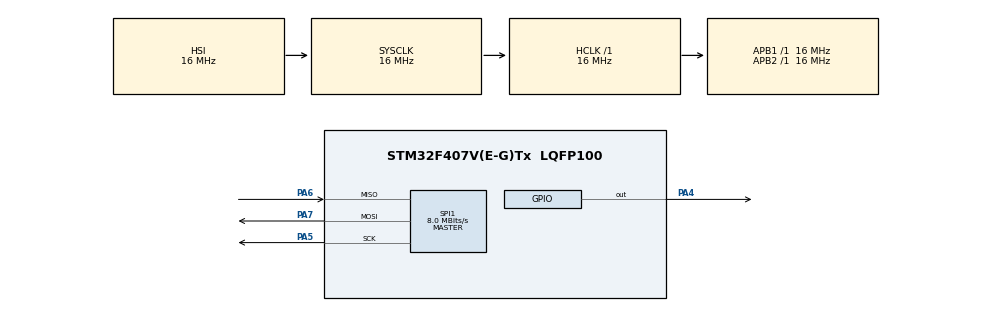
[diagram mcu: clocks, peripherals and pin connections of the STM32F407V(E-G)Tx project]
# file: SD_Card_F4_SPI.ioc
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FATFS._MAX_SS=4096
FATFS._USE_LFN=1
Mcu.Family=STM32F4
Mcu.Name=STM32F407V(E-G)Tx
Mcu.Package=LQFP100
NVIC.PriorityGroup=NVIC_PRIORITYGROUP_4
PA13.Mode=Serial_Wire
PA13.Signal=SYS_JTMS-SWDIO
PA14.Mode=Serial_Wire
PA14.Signal=SYS_JTCK-SWCLK
PA4.Signal=GPIO_Output
PA5.Mode=Full_Duplex_Master
PA5.Signal=SPI1_SCK
PA6.Mode=Full_Duplex_Master
PA6.Signal=SPI1_MISO
PA7.Mode=Full_Duplex_Master
PA7.Signal=SPI1_MOSI
ProjectManager.HeapSize=0x200
ProjectManager.StackSize=0x400
ProjectManager.TargetToolchain=STM32CubeIDE
RCC.AHBFreq_Value=16000000
RCC.APB1Freq_Value=16000000
RCC.APB2Freq_Value=16000000
RCC.CortexFreq_Value=16000000
RCC.HSE_VALUE=25000000
RCC.HSI_VALUE=16000000
RCC.LSE_VALUE=32768
RCC.SYSCLKFreq_VALUE=16000000
RCC.VCOOutputFreq_Value=192000000
SPI1.CalculateBaudRate=8.0 MBits/s
SPI1.Direction=SPI_DIRECTION_2LINES
SPI1.Mode=SPI_MODE_MASTER
SPI1.VirtualType=VM_MASTER
VP_FATFS_VS_Generic.Mode=User_defined
board=custom

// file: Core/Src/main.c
/* USER CODE BEGIN Header */
/**
  ******************************************************************************
  * @file           : main.c
  * @brief          : Main program body
  ******************************************************************************
  * @attention
  *
  * Copyright (c) 2023 STMicroelectronics.
  * All rights reserved.
  *
  * This software is licensed under terms that can be found in the LICENSE file
  * in the root directory of this software component.
  * If no LICENSE file comes with this software, it is provided AS-IS.
  *
  ******************************************************************************
  */
/* USER CODE END Header */
#include "main.h"
#include "fatfs.h"

/* USER CODE BEGIN Includes */
#include <string.h>
/* USER CODE END Includes */

/* USER CODE BEGIN PTD */
#include "sd.h"
/* USER CODE END PTD */

/* USER CODE BEGIN PD */
FATFS fs;
FIL fil;
int c=0;
FRESULT res; // FatFs function result variable

//char buffer[100];
/* USER CODE END PD */

SPI_HandleTypeDef hspi1;

void SystemClock_Config(void);
static void MX_GPIO_Init(void);
static void MX_SPI1_Init(void);

int main(void)
{

  /* MCU Configuration--------------------------------------------------------*/

  /* Reset of all peripherals, Initializes the Flash interface and the Systick. */
  HAL_Init();

  /* Configure the system clock */
  SystemClock_Config();

  /* Initialize all configured peripherals */
  MX_GPIO_Init();
  MX_SPI1_Init();
  MX_FATFS_Init();
  /* USER CODE BEGIN 2 */
  HAL_Delay(500);
//   f_mount(&fs, "", 0);
//   f_open(&fil, "write.txt", FA_CREATE_NEW|FA_OPEN_ALWAYS|FA_WRITE );   //FA_OPEN_ALWAYS | | FA_READ
//   f_lseek(&fil, fil.fptr);
//   f_puts("Hello from Parikshit\n", &fil);
//   f_close(&fil);

//   SD_Card_Init()

   // Mount the file system
   res = f_mount(&fs, "", 0);
   if (res != FR_OK) {
       // Handle mount error
       c=1;
       Error_Handler();
   }

   HAL_Delay(5000);
   // Open or create the file
   res = f_open(&fil, "write.txt", FA_CREATE_NEW | FA_OPEN_ALWAYS | FA_READ| FA_WRITE);
   if (res != FR_OK) {
       // Handle file open error
       f_mount(NULL, "", 0); // Unmount the file system
       c=2;
       Error_Handler();
   }

   // Write data to the file
   res = f_puts("Hello from Parikshit\n", &fil);
   if (res < 0) {
       // Handle write error
//       printf("Failed to write to file. Error code: %d\n", res);
       f_close(&fil); // Close the file
       f_mount(NULL, "", 0); // Unmount the file system

       c=3;
       Error_Handler();
   }

   // Close the file
   res = f_close(&fil);
   if (res != FR_OK) {
       // Handle file close error
//       printf("Failed to close file. Error code: %d\n", res);
       f_mount(NULL, "", 0); // Unmount the file system
       c=4;
             Error_Handler();

   }

   // Unmount the file system
   res = f_mount(NULL, "", 0);
   if (res != FR_OK) {
       // Handle unmount error
//       printf("Failed to unmount filesystem. Error code: %d\n", res);
//       return; // Or perform error recovery
	   c=4;
	   Error_Handler();
   }

//  f_open(&fil, "write.txt", FA_READ);
//    // Reads line by line until the end
//    while(f_gets(buffer, sizeof(buffer), &fil))
//    {
//      // Can use the buffer for something useful
//      memset(buffer,0,sizeof(buffer));
//    }
//    f_close(&fil);
  /* USER CODE END 2 */

  /* Infinite loop */
  while (1)
  {

  }
}

void SystemClock_Config(void)
{
  RCC_OscInitTypeDef RCC_OscInitStruct = {0};
  RCC_ClkInitTypeDef RCC_ClkInitStruct = {0};

  /** Configure the main internal regulator output voltage
  */
  __HAL_RCC_PWR_CLK_ENABLE();
  __HAL_PWR_VOLTAGESCALING_CONFIG(PWR_REGULATOR_VOLTAGE_SCALE1);

  /** Initializes the RCC Oscillators according to the specified parameters
  * in the RCC_OscInitTypeDef structure.
  */
  RCC_OscInitStruct.OscillatorType = RCC_OSCILLATORTYPE_HSI;
  RCC_OscInitStruct.HSIState = RCC_HSI_ON;
  RCC_OscInitStruct.HSICalibrationValue = RCC_HSICALIBRATION_DEFAULT;
  RCC_OscInitStruct.PLL.PLLState = RCC_PLL_NONE;
  if (HAL_RCC_OscConfig(&RCC_OscInitStruct) != HAL_OK)
  {
    Error_Handler();
  }

  /** Initializes the CPU, AHB and APB buses clocks
  */
  RCC_ClkInitStruct.ClockType = RCC_CLOCKTYPE_HCLK|RCC_CLOCKTYPE_SYSCLK
                              |RCC_CLOCKTYPE_PCLK1|RCC_CLOCKTYPE_PCLK2;
  RCC_ClkInitStruct.SYSCLKSource = RCC_SYSCLKSOURCE_HSI;
  RCC_ClkInitStruct.AHBCLKDivider = RCC_SYSCLK_DIV1;
  RCC_ClkInitStruct.APB1CLKDivider = RCC_HCLK_DIV1;
  RCC_ClkInitStruct.APB2CLKDivider = RCC_HCLK_DIV1;

  if (HAL_RCC_ClockConfig(&RCC_ClkInitStruct, FLASH_LATENCY_0) != HAL_OK)
  {
    Error_Handler();
  }
}

static void MX_SPI1_Init(void)
{

  /* SPI1 parameter configuration*/
  hspi1.Instance = SPI1;
  hspi1.Init.Mode = SPI_MODE_MASTER;
  hspi1.Init.Direction = SPI_DIRECTION_2LINES;
  hspi1.Init.DataSize = SPI_DATASIZE_8BIT;
  hspi1.Init.CLKPolarity = SPI_POLARITY_LOW;
  hspi1.Init.CLKPhase = SPI_PHASE_1EDGE;
  hspi1.Init.NSS = SPI_NSS_SOFT;
  hspi1.Init.BaudRatePrescaler = SPI_BAUDRATEPRESCALER_2;
  hspi1.Init.FirstBit = SPI_FIRSTBIT_MSB;
  hspi1.Init.TIMode = SPI_TIMODE_DISABLE;
  hspi1.Init.CRCCalculation = SPI_CRCCALCULATION_DISABLE;
  hspi1.Init.CRCPolynomial = 10;
  if (HAL_SPI_Init(&hspi1) != HAL_OK)
  {
    Error_Handler();
  }

}

static void MX_GPIO_Init(void)
{
  GPIO_InitTypeDef GPIO_InitStruct = {0};

  /* GPIO Ports Clock Enable */
  __HAL_RCC_GPIOA_CLK_ENABLE();

  /*Configure GPIO pin Output Level */
  HAL_GPIO_WritePin(GPIOA, GPIO_PIN_4, GPIO_PIN_RESET);

  /*Configure GPIO pin : PA4 */
  GPIO_InitStruct.Pin = GPIO_PIN_4;
  GPIO_InitStruct.Mode = GPIO_MODE_OUTPUT_PP;
  GPIO_InitStruct.Pull = GPIO_NOPULL;
  GPIO_InitStruct.Speed = GPIO_SPEED_FREQ_LOW;
  HAL_GPIO_Init(GPIOA, &GPIO_InitStruct);

}

void Error_Handler(void)
{
  __disable_irq();
  while (1)
  {
  }
}
